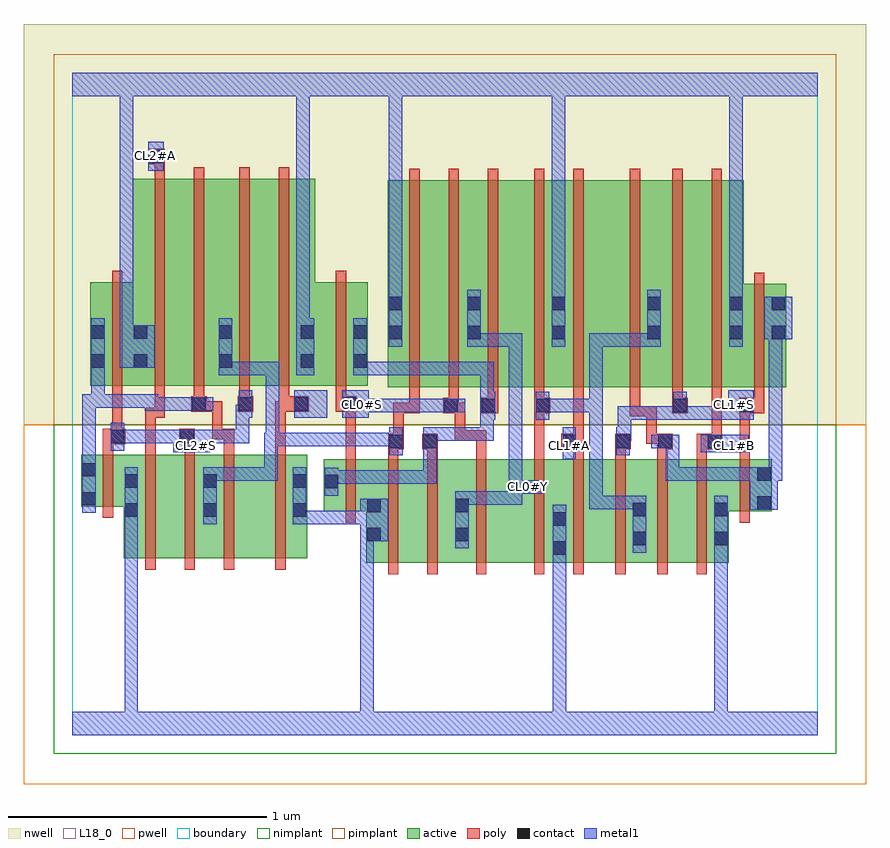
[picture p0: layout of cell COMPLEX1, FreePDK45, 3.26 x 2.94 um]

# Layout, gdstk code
import gdstk
lib = gdstk.Library(unit=1e-6, precision=1e-09)
def R(c, l, rs):  # rectangles x0, y0, x1, y1
    for r in rs: c.add(gdstk.rectangle(r[:2], r[2:], *l))
def A(c, l, x, y, w, h, nx, ny, dx, dy):  # array of equal rectangles
    R(c, l, [(x+i*dx, y+j*dy, x+i*dx+w, y+j*dy+h) for i in range(nx) for j in range(ny)])
active = (1, 0)
pwell = (2, 0)
nwell = (3, 0)
nimplant = (4, 0)
pimplant = (5, 0)
poly = (9, 0)
contact = (10, 0)
metal1 = (11, 0)
L18_0 = (18, 0)
boundary = (235, 0)

complex1 = lib.new_cell('COMPLEX1')
R(complex1, active, [(1.136,0.666,1.316,1.066), (1.316,0.666,1.536,1.066), (1.476,0.666,1.686,1.066), (1.476,0.666,1.536,0.918), (1.686,0.666,1.912,1.066), (1.852,0.666,1.912,0.866), (1.852,0.666,2.042,1.066), (2.042,0.666,2.222,1.066), (2.162,0.666,2.356,1.066), (2.162,0.666,2.222,0.902), (2.356,0.666,2.536,1.066), (0.198,0.684,0.378,1.084), (0.198,0.684,0.258,1.084), (0.378,0.684,0.562,1.084), (0.502,0.684,0.728,1.084), (0.728,0.684,0.908,1.084), (2.476,0.73,2.536,0.93), (1.136,0.746,1.196,1.066), (0.502,0.756,0.562,1.084), (0.848,0.756,0.908,1.084), (0.972,0.866,1.032,1.066), (0.972,0.866,1.196,1.066), (2.476,0.866,2.702,1.066), (2.642,0.868,2.702,1.066), (0.034,0.884,0.094,1.084), (0.034,0.884,0.258,1.084), (1.218,1.344,1.398,2.144), (1.218,1.344,1.278,2.044), (1.398,1.344,1.582,2.144), (1.522,1.344,1.702,2.144), (1.702,1.344,1.908,2.144), (1.848,1.344,2.098,2.144), (2.098,1.344,2.278,2.144), (2.218,1.344,2.414,2.144), (2.414,1.344,2.594,2.144), (2.534,1.344,2.758,1.744), (2.698,1.344,2.758,1.744), (0.07,1.35,0.294,1.75), (0.07,1.35,0.13,1.644), (0.234,1.35,0.414,2.15), (0.234,1.35,0.294,1.644), (0.414,1.35,0.622,2.15), (0.562,1.35,0.742,2.15), (0.562,1.35,0.622,2.044), (0.742,1.35,0.938,2.15), (0.878,1.35,0.938,1.644), (0.878,1.35,1.142,1.75), (1.082,1.35,1.142,1.644), (2.218,1.412,2.278,2.044), (1.848,1.414,1.908,2.044), (2.534,1.416,2.594,2.144), (1.522,1.526,1.582,2.044)])
R(complex1, pwell, [(-0.188,-0.188,3.068,1.2)])
R(complex1, nwell, [(-0.188,1.2,3.068,2.748)])
R(complex1, nimplant, [(-0.072,-0.072,2.952,1.2)])
R(complex1, pimplant, [(-0.072,1.2,2.952,2.632)])
A(complex1, poly, 1.936, 0.622, 0.04, 0.488, 3, 1, 0.162, 0)
A(complex1, poly, 0.282, 0.64, 0.04, 0.488, 3, 1, 0.152, 0)
A(complex1, poly, 1.936, 1.07, 0.04, 0.076, 3, 1, 0.162, 0)
A(complex1, poly, 0.54, 1.25, 0.04, 0.04, 3, 1, 0.258, 0)
A(complex1, poly, 1.302, 1.3, 0.04, 0.888, 3, 1, 0.152, 0)
R(complex1, poly, [(1.22,0.622,1.26,1.11), (1.372,0.622,1.412,1.11), (1.56,0.622,1.6,1.11), (1.784,0.622,1.824,1.11), (2.412,0.622,2.452,1.11), (0.784,0.64,0.824,1.128), (1.056,0.822,1.096,1.11), (2.578,0.822,2.618,1.11), (0.118,0.84,0.158,1.128), (1.056,1.07,1.096,1.29), (1.22,1.07,1.26,1.146), (1.372,1.07,1.412,1.146), (1.56,1.07,1.6,1.178), (1.784,1.07,1.824,1.284), (2.412,1.07,2.452,1.146), (2.578,1.07,2.618,1.284), (0.118,1.088,0.158,1.164), (0.282,1.088,0.322,1.266), (0.434,1.088,0.474,1.164), (0.586,1.088,0.626,1.184), (0.784,1.088,0.824,1.29), (1.22,1.106,1.28,1.166), (1.352,1.106,1.412,1.166), (1.89,1.106,1.976,1.166), (2.098,1.106,2.158,1.166), (2.26,1.106,2.32,1.166), (2.412,1.106,2.512,1.166), (0.118,1.124,0.204,1.184), (0.414,1.124,0.474,1.184), (1.24,1.126,1.28,1.284), (1.936,1.126,1.976,1.166), (1.936,1.126,1.976,1.166), (1.936,1.126,1.976,1.34), (2.218,1.126,2.258,1.166), (2.218,1.126,2.3,1.166), (2.218,1.126,2.258,1.272), (2.47,1.126,2.51,1.166), (2.47,1.126,2.51,1.166), (2.47,1.126,2.51,1.34), (1.478,1.138,1.518,1.178), (1.478,1.138,1.518,1.284), (1.478,1.138,1.6,1.178), (1.56,1.138,1.6,1.178), (0.154,1.144,0.194,1.184), (0.154,1.144,0.194,1.184), (0.154,1.144,0.194,1.346), (0.54,1.144,0.58,1.184), (0.54,1.144,0.58,1.29), (0.54,1.144,0.626,1.184), (0.586,1.144,0.626,1.184), (0.282,1.226,0.348,1.266), (0.308,1.226,0.348,1.266), (0.308,1.226,0.358,1.266), (0.318,1.226,0.358,1.346), (2.154,1.232,2.194,1.272), (2.154,1.232,2.258,1.272), (2.154,1.232,2.194,1.34), (2.218,1.232,2.258,1.272), (1.24,1.244,1.342,1.284), (1.302,1.244,1.342,1.34), (1.434,1.244,1.494,1.304), (1.454,1.244,1.518,1.284), (1.478,1.244,1.518,1.284), (1.578,1.244,1.646,1.304), (1.784,1.244,1.824,1.284), (1.784,1.244,1.824,1.284), (1.784,1.244,1.846,1.304), (2.318,1.244,2.378,1.304), (2.576,1.244,2.674,1.304), (2.578,1.244,2.618,1.284), (2.578,1.244,2.618,1.284), (0.46,1.25,0.52,1.31), (0.48,1.25,0.58,1.29), (0.64,1.25,0.7,1.31), (0.784,1.25,0.838,1.29), (0.798,1.25,0.914,1.31), (1.018,1.25,1.1,1.31), (1.056,1.25,1.096,1.29), (1.454,1.264,1.494,1.34), (1.606,1.264,1.646,1.34), (1.784,1.264,1.824,1.34), (2.318,1.264,2.358,1.34), (2.634,1.264,2.674,1.34), (0.47,1.27,0.51,1.346), (0.646,1.27,0.686,1.346), (0.798,1.27,0.838,1.346), (1.018,1.27,1.058,1.346), (1.784,1.3,1.824,2.188), (1.936,1.3,1.976,2.188), (2.154,1.3,2.194,2.188), (2.318,1.3,2.358,2.188), (2.47,1.3,2.51,2.188), (2.634,1.3,2.674,1.788), (0.154,1.306,0.194,1.794), (0.318,1.306,0.358,2.194), (0.47,1.306,0.51,2.194), (0.646,1.306,0.686,2.194), (0.798,1.306,0.838,2.194), (1.018,1.306,1.058,1.794), (0.318,2.154,0.358,2.246), (0.298,2.206,0.358,2.266)])
R(complex1, contact, [(1.856,0.698,1.908,0.75), (2.166,0.734,2.218,0.786), (2.48,0.734,2.532,0.786), (1.14,0.75,1.192,0.802), (1.48,0.75,1.532,0.802), (1.856,0.81,1.908,0.862), (0.202,0.844,0.254,0.896), (0.506,0.844,0.558,0.896), (0.852,0.844,0.904,0.896), (2.166,0.846,2.218,0.898), (2.48,0.846,2.532,0.898), (1.14,0.862,1.192,0.914), (1.48,0.862,1.532,0.914), (2.646,0.872,2.698,0.924), (0.038,0.888,0.09,0.94), (0.976,0.954,1.028,1.006), (0.202,0.956,0.254,1.008), (0.506,0.956,0.558,1.008), (0.852,0.956,0.904,1.008), (2.646,0.984,2.698,1.036), (0.038,1,0.09,1.052), (1.224,1.11,1.276,1.162), (1.356,1.11,1.408,1.162), (1.894,1.11,1.946,1.162), (2.102,1.11,2.154,1.162), (2.264,1.11,2.316,1.162), (2.456,1.11,2.508,1.162), (0.148,1.128,0.2,1.18), (0.418,1.128,0.47,1.18), (1.438,1.248,1.49,1.3), (1.582,1.248,1.634,1.3), (1.79,1.248,1.842,1.3), (2.322,1.248,2.374,1.3), (2.58,1.248,2.632,1.3), (0.464,1.254,0.516,1.306), (0.644,1.254,0.696,1.306), (0.858,1.254,0.91,1.306), (1.044,1.254,1.096,1.306), (0.074,1.42,0.126,1.472), (0.238,1.42,0.29,1.472), (0.566,1.42,0.618,1.472), (0.882,1.42,0.934,1.472), (1.086,1.42,1.138,1.472), (1.222,1.53,1.274,1.582), (1.526,1.53,1.578,1.582), (1.852,1.53,1.904,1.582), (2.222,1.53,2.274,1.582), (2.538,1.53,2.59,1.582), (2.702,1.53,2.754,1.582), (0.074,1.532,0.126,1.584), (0.238,1.532,0.29,1.584), (0.566,1.532,0.618,1.584), (0.882,1.532,0.934,1.584), (1.086,1.532,1.138,1.584), (1.222,1.642,1.274,1.694), (1.526,1.642,1.578,1.694), (1.852,1.642,1.904,1.694), (2.222,1.642,2.274,1.694), (2.538,1.642,2.59,1.694), (2.702,1.642,2.754,1.694), (0.302,2.21,0.354,2.262)])
R(complex1, metal1, [(0,0,2.88,0.092), (0.202,0.04,0.254,0.092), (0.202,0.04,0.254,0.092), (0.202,0.04,0.254,0.092), (0.202,0.04,0.254,0.092), (0.202,0.04,0.254,0.092), (0.202,0.04,0.254,0.092), (0.202,0.04,0.254,0.092), (0.202,0.04,0.254,0.092), (0.202,0.04,0.254,0.092), (0.202,0.04,0.254,0.092), (0.202,0.04,0.254,0.092), (0.202,0.04,0.254,0.092), (0.202,0.04,0.254,0.868), (1.112,0.04,1.164,0.092), (1.112,0.04,1.164,0.092), (1.112,0.04,1.164,0.092), (1.112,0.04,1.164,0.092), (1.112,0.04,1.164,0.092), (1.112,0.04,1.164,0.092), (1.112,0.04,1.164,0.092), (1.112,0.04,1.164,0.092), (1.112,0.04,1.164,0.092), (1.112,0.04,1.164,0.092), (1.112,0.04,1.164,0.092), (1.112,0.04,1.164,0.092), (1.112,0.04,1.164,0.802), (1.856,0.04,1.908,0.722), (2.48,0.04,2.532,0.092), (2.48,0.04,2.532,0.092), (2.48,0.04,2.532,0.092), (2.48,0.04,2.532,0.092), (2.48,0.04,2.532,0.092), (2.48,0.04,2.532,0.092), (2.48,0.04,2.532,0.092), (2.48,0.04,2.532,0.092), (2.48,0.04,2.532,0.092), (2.48,0.04,2.532,0.092), (2.48,0.04,2.532,0.092), (2.48,0.04,2.532,0.092), (2.48,0.04,2.532,0.758), (1.856,0.67,1.908,0.722), (1.856,0.67,1.908,0.722), (1.856,0.67,1.908,0.722), (1.856,0.67,1.908,0.722), (1.856,0.67,1.908,0.722), (1.856,0.67,1.908,0.722), (1.856,0.67,1.908,0.722), (1.856,0.67,1.908,0.722), (1.856,0.67,1.908,0.722), (1.856,0.67,1.908,0.722), (1.856,0.67,1.908,0.722), (1.856,0.67,1.908,0.722), (1.856,0.67,1.908,0.89), (2.166,0.706,2.218,0.926), (2.48,0.706,2.532,0.926), (1.48,0.722,1.532,0.942), (1.112,0.75,1.22,0.914), (0.202,0.816,0.254,1.036), (0.506,0.816,0.558,1.036), (0.852,0.816,0.904,1.036), (0.852,0.816,1.028,0.868), (0.976,0.816,1.028,0.868), (0.976,0.816,1.028,0.868), (0.976,0.816,1.028,0.868), (0.976,0.816,1.164,0.868), (0.038,0.86,0.09,1.08), (2.618,0.872,2.726,1.036), (1.998,0.874,2.05,0.926), (1.998,0.874,2.062,0.926), (1.998,0.874,2.05,1.3), (2.01,0.874,2.062,0.926), (2.01,0.874,2.218,0.926), (1.48,0.89,1.628,0.942), (1.576,0.89,1.628,0.942), (1.576,0.89,1.738,0.942), (1.686,0.89,1.738,0.942), (1.686,0.89,1.738,0.986), (0.976,0.926,1.028,1.034), (1.686,0.934,1.738,1.554), (1.686,0.934,1.814,0.986), (0.976,0.972,1.138,1.024), (1.086,0.972,1.138,1.024), (1.086,0.972,1.138,1.024), (1.086,0.972,1.138,1.024), (1.086,0.972,1.256,1.024), (1.204,0.972,1.256,1.024), (1.204,0.972,1.256,1.024), (1.204,0.972,1.256,1.024), (1.204,0.972,1.408,1.024), (1.356,0.972,1.408,1.024), (1.356,0.972,1.408,1.134), (0.506,0.984,0.794,1.036), (0.742,0.984,0.794,1.036), (0.742,0.984,0.794,1.036), (0.742,0.984,0.794,1.036), (0.742,0.984,0.794,1.168), (2.292,0.984,2.344,1.036), (2.292,0.984,2.48,1.036), (2.292,0.984,2.344,1.162), (2.428,0.984,2.48,1.036), (2.428,0.984,2.56,1.036), (2.508,0.984,2.56,1.036), (2.508,0.984,2.67,1.036), (2.618,0.984,2.67,1.036), (2.618,0.984,2.67,1.036), (2.674,0.984,2.726,1.036), (2.674,0.984,2.742,1.036), (2.69,0.984,2.742,1.582), (2.69,0.984,2.742,1.036), (2.69,0.984,2.742,1.036), (0.038,1.028,0.09,1.08), (0.038,1.028,0.09,1.08), (0.038,1.028,0.09,1.318), (1.894,1.066,1.946,1.19), (1.224,1.082,1.276,1.19), (1.356,1.082,1.408,1.134), (1.356,1.082,1.408,1.134), (1.356,1.082,1.408,1.19), (2.102,1.082,2.154,1.19), (0.39,1.094,0.534,1.18), (2.428,1.094,2.614,1.162), (0.148,1.1,0.2,1.208), (2.236,1.11,2.344,1.162), (2.292,1.11,2.344,1.162), (2.292,1.11,2.344,1.162), (0.742,1.116,0.8,1.168), (0.748,1.116,0.8,1.168), (0.748,1.116,0.8,1.168), (0.748,1.116,0.91,1.168), (0.748,1.116,0.8,1.444), (0.858,1.116,0.91,1.168), (0.858,1.116,0.91,1.168), (0.858,1.116,0.91,1.168), (0.858,1.116,1.026,1.168), (0.974,1.116,1.026,1.168), (0.974,1.116,1.138,1.168), (1.086,1.116,1.138,1.168), (1.086,1.116,1.138,1.168), (1.086,1.116,1.138,1.168), (1.086,1.116,1.276,1.168), (1.224,1.116,1.276,1.168), (1.224,1.116,1.276,1.168), (0.148,1.128,0.31,1.18), (0.258,1.128,0.31,1.18), (0.258,1.128,0.31,1.18), (0.258,1.128,0.31,1.18), (0.258,1.128,0.442,1.18), (0.39,1.128,0.442,1.18), (0.39,1.128,0.442,1.18), (0.482,1.128,0.684,1.18), (0.632,1.128,0.684,1.18), (0.632,1.128,0.684,1.278), (1.356,1.138,1.628,1.19), (1.576,1.138,1.628,1.19), (1.576,1.138,1.628,1.328), (2.102,1.138,2.16,1.19), (2.108,1.138,2.16,1.19), (2.108,1.138,2.16,1.272), (1.582,1.22,1.634,1.328), (1.79,1.22,1.842,1.328), (2.108,1.22,2.16,1.272), (2.108,1.22,2.374,1.272), (2.322,1.22,2.374,1.272), (2.322,1.22,2.374,1.272), (2.322,1.22,2.48,1.272), (2.322,1.22,2.374,1.328), (2.428,1.22,2.48,1.272), (2.428,1.22,2.56,1.272), (2.508,1.22,2.56,1.272), (2.508,1.22,2.586,1.272), (2.534,1.22,2.632,1.334), (0.632,1.226,0.684,1.278), (0.632,1.226,0.696,1.278), (0.644,1.226,0.696,1.334), (0.858,1.226,0.986,1.334), (1.044,1.226,1.146,1.334), (1.094,1.248,1.146,1.3), (1.094,1.248,1.146,1.3), (1.094,1.248,1.256,1.3), (1.204,1.248,1.256,1.3), (1.204,1.248,1.256,1.3), (1.204,1.248,1.256,1.3), (1.204,1.248,1.422,1.3), (1.37,1.248,1.422,1.3), (1.37,1.248,1.462,1.3), (1.41,1.248,1.518,1.3), (1.79,1.248,1.94,1.3), (1.888,1.248,1.94,1.3), (1.888,1.248,1.952,1.3), (1.9,1.248,1.952,1.3), (1.9,1.248,2.05,1.3), (1.998,1.248,2.05,1.3), (1.998,1.248,2.05,1.3), (1.998,1.248,2.05,1.3), (1.998,1.248,2.05,1.554), (0.28,1.254,0.448,1.306), (0.28,1.254,0.332,1.318), (0.396,1.254,0.448,1.306), (0.396,1.254,0.488,1.306), (0.436,1.254,0.544,1.306), (0.038,1.266,0.126,1.318), (0.074,1.266,0.126,1.318), (0.074,1.266,0.126,1.318), (0.074,1.266,0.126,1.444), (0.074,1.266,0.332,1.318), (0.28,1.266,0.332,1.318), (0.28,1.266,0.332,1.318), (1.576,1.276,1.628,1.328), (1.576,1.276,1.634,1.328), (1.576,1.276,1.628,1.444), (0.074,1.392,0.126,1.612), (0.566,1.392,0.618,1.612), (0.566,1.392,0.794,1.444), (0.742,1.392,0.794,1.444), (0.742,1.392,0.8,1.444), (0.748,1.392,0.8,1.444), (0.866,1.392,0.934,1.612), (1.086,1.392,1.138,1.612), (1.086,1.392,1.256,1.444), (1.204,1.392,1.256,1.444), (1.204,1.392,1.256,1.444), (1.204,1.392,1.256,1.444), (1.204,1.392,1.386,1.444), (1.334,1.392,1.386,1.444), (1.334,1.392,1.386,1.444), (1.334,1.392,1.386,1.444), (1.334,1.392,1.628,1.444), (1.576,1.392,1.628,1.444), (0.184,1.42,0.318,1.584), (1.222,1.502,1.274,1.722), (1.526,1.502,1.578,1.722), (1.526,1.502,1.628,1.554), (1.576,1.502,1.628,1.554), (1.576,1.502,1.738,1.554), (1.686,1.502,1.738,1.554), (1.686,1.502,1.738,1.554), (1.686,1.502,1.738,1.554), (1.686,1.502,1.738,1.554), (1.686,1.502,1.738,1.554), (1.852,1.502,1.904,1.722), (1.998,1.502,2.05,1.554), (1.998,1.502,2.178,1.554), (2.126,1.502,2.178,1.554), (2.126,1.502,2.274,1.554), (2.222,1.502,2.274,1.722), (2.538,1.502,2.59,1.722), (2.674,1.53,2.782,1.694), (0.184,1.532,0.236,1.584), (0.184,1.532,0.236,1.584), (0.184,1.532,0.236,2.52), (0.866,1.56,0.918,1.612), (0.866,1.56,0.918,1.612), (0.866,1.56,0.918,1.612), (0.866,1.56,0.918,1.612), (0.866,1.56,0.918,1.612), (0.866,1.56,0.918,1.612), (0.866,1.56,0.918,1.612), (0.866,1.56,0.918,1.612), (0.866,1.56,0.918,2.52), (1.222,1.67,1.274,1.722), (1.222,1.67,1.274,1.722), (1.222,1.67,1.274,1.722), (1.222,1.67,1.274,1.722), (1.222,1.67,1.274,2.52), (1.852,1.67,1.904,1.722), (1.852,1.67,1.904,1.722), (1.852,1.67,1.904,2.52), (2.538,1.67,2.59,1.722), (2.538,1.67,2.59,1.722), (2.538,1.67,2.59,2.52), (0.294,2.182,0.354,2.294), (0,2.468,2.88,2.56), (0.184,2.468,0.236,2.52), (0.184,2.468,0.236,2.52), (0.184,2.468,0.236,2.52), (0.184,2.468,0.236,2.52), (0.184,2.468,0.236,2.52), (0.184,2.468,0.236,2.52), (1.222,2.468,1.274,2.52), (1.222,2.468,1.274,2.52), (1.222,2.468,1.274,2.52), (1.222,2.468,1.274,2.52), (1.852,2.468,1.904,2.52), (1.852,2.468,1.904,2.52), (1.852,2.468,1.904,2.52), (1.852,2.468,1.904,2.52), (1.852,2.468,1.904,2.52), (1.852,2.468,1.904,2.52), (2.538,2.468,2.59,2.52), (2.538,2.468,2.59,2.52), (2.538,2.468,2.59,2.52), (2.538,2.468,2.59,2.52), (2.538,2.468,2.59,2.52), (2.538,2.468,2.59,2.52)])
R(complex1, L18_0, [(0,0,2.88,0.092), (0.202,0.04,0.254,0.092), (0.202,0.04,0.254,0.092), (0.202,0.04,0.254,0.092), (0.202,0.04,0.254,0.092), (0.202,0.04,0.254,0.092), (0.202,0.04,0.254,0.092), (0.202,0.04,0.254,0.092), (0.202,0.04,0.254,0.092), (0.202,0.04,0.254,0.092), (0.202,0.04,0.254,0.092), (0.202,0.04,0.254,0.092), (0.202,0.04,0.254,0.092), (0.202,0.04,0.254,0.868), (1.112,0.04,1.164,0.092), (1.112,0.04,1.164,0.092), (1.112,0.04,1.164,0.092), (1.112,0.04,1.164,0.092), (1.112,0.04,1.164,0.092), (1.112,0.04,1.164,0.092), (1.112,0.04,1.164,0.092), (1.112,0.04,1.164,0.092), (1.112,0.04,1.164,0.092), (1.112,0.04,1.164,0.092), (1.112,0.04,1.164,0.092), (1.112,0.04,1.164,0.092), (1.112,0.04,1.164,0.802), (1.856,0.04,1.908,0.722), (2.48,0.04,2.532,0.092), (2.48,0.04,2.532,0.092), (2.48,0.04,2.532,0.092), (2.48,0.04,2.532,0.092), (2.48,0.04,2.532,0.092), (2.48,0.04,2.532,0.092), (2.48,0.04,2.532,0.092), (2.48,0.04,2.532,0.092), (2.48,0.04,2.532,0.092), (2.48,0.04,2.532,0.092), (2.48,0.04,2.532,0.092), (2.48,0.04,2.532,0.092), (2.48,0.04,2.532,0.758), (1.856,0.67,1.908,0.722), (1.856,0.67,1.908,0.722), (1.856,0.67,1.908,0.722), (1.856,0.67,1.908,0.722), (1.856,0.67,1.908,0.722), (1.856,0.67,1.908,0.722), (1.856,0.67,1.908,0.722), (1.856,0.67,1.908,0.722), (1.856,0.67,1.908,0.722), (1.856,0.67,1.908,0.722), (1.856,0.67,1.908,0.722), (1.856,0.67,1.908,0.722), (1.856,0.67,1.908,0.89), (2.48,0.706,2.532,0.926), (1.48,0.722,1.532,0.942), (1.112,0.75,1.22,0.914), (0.202,0.816,0.254,1.036), (0.852,0.816,0.904,1.036), (0.852,0.816,1.028,0.868), (0.976,0.816,1.028,0.868), (0.976,0.816,1.028,0.868), (0.976,0.816,1.028,0.868), (0.976,0.816,1.164,0.868), (1.48,0.89,1.628,0.942), (1.576,0.89,1.628,0.942), (1.576,0.89,1.738,0.942), (1.686,0.89,1.738,0.942), (1.686,0.89,1.738,0.986), (1.686,0.934,1.814,0.986), (1.686,0.934,1.738,1.554), (1.734,0.934,1.786,0.986), (1.894,1.066,1.946,1.19), (2.102,1.082,2.154,1.19), (0.39,1.094,0.534,1.18), (0.454,1.094,0.506,1.146), (1.894,1.094,1.946,1.146), (2.428,1.094,2.614,1.162), (2.534,1.094,2.586,1.146), (0.148,1.1,0.2,1.208), (0.148,1.128,0.31,1.18), (0.258,1.128,0.31,1.18), (0.258,1.128,0.31,1.18), (0.258,1.128,0.31,1.18), (0.258,1.128,0.442,1.18), (0.39,1.128,0.442,1.18), (0.39,1.128,0.442,1.18), (0.482,1.128,0.684,1.18), (0.632,1.128,0.684,1.18), (0.632,1.128,0.684,1.278), (2.102,1.138,2.16,1.19), (2.108,1.138,2.16,1.19), (2.108,1.138,2.16,1.272), (2.108,1.22,2.16,1.272), (2.108,1.22,2.374,1.272), (2.322,1.22,2.374,1.328), (2.322,1.22,2.374,1.272), (2.322,1.22,2.374,1.272), (2.322,1.22,2.48,1.272), (2.428,1.22,2.48,1.272), (2.428,1.22,2.56,1.272), (2.508,1.22,2.56,1.272), (2.508,1.22,2.586,1.272), (2.534,1.22,2.632,1.334), (0.632,1.226,0.684,1.278), (0.632,1.226,0.696,1.278), (0.644,1.226,0.696,1.334), (0.858,1.226,0.986,1.334), (1.044,1.226,1.146,1.334), (1.094,1.248,1.146,1.3), (1.094,1.248,1.146,1.3), (1.094,1.248,1.256,1.3), (1.204,1.248,1.256,1.3), (1.204,1.248,1.256,1.3), (1.204,1.248,1.256,1.3), (1.204,1.248,1.422,1.3), (1.37,1.248,1.422,1.3), (1.37,1.248,1.462,1.3), (1.41,1.248,1.518,1.3), (0.934,1.254,0.986,1.306), (1.094,1.254,1.146,1.306), (2.534,1.254,2.586,1.306), (0.866,1.392,0.934,1.612), (0.184,1.42,0.318,1.584), (1.222,1.502,1.274,1.722), (1.526,1.502,1.578,1.722), (1.526,1.502,1.628,1.554), (1.576,1.502,1.628,1.554), (1.576,1.502,1.738,1.554), (1.686,1.502,1.738,1.554), (1.686,1.502,1.738,1.554), (1.686,1.502,1.738,1.554), (1.686,1.502,1.738,1.554), (1.686,1.502,1.738,1.554), (1.852,1.502,1.904,1.722), (2.538,1.502,2.59,1.722), (0.184,1.532,0.236,1.584), (0.184,1.532,0.236,1.584), (0.184,1.532,0.236,2.52), (0.866,1.56,0.918,1.612), (0.866,1.56,0.918,1.612), (0.866,1.56,0.918,1.612), (0.866,1.56,0.918,1.612), (0.866,1.56,0.918,1.612), (0.866,1.56,0.918,1.612), (0.866,1.56,0.918,1.612), (0.866,1.56,0.918,1.612), (0.866,1.56,0.918,2.52), (1.222,1.67,1.274,1.722), (1.222,1.67,1.274,1.722), (1.222,1.67,1.274,1.722), (1.222,1.67,1.274,1.722), (1.222,1.67,1.274,2.52), (1.852,1.67,1.904,1.722), (1.852,1.67,1.904,1.722), (1.852,1.67,1.904,2.52), (2.538,1.67,2.59,1.722), (2.538,1.67,2.59,1.722), (2.538,1.67,2.59,2.52), (0.294,2.182,0.354,2.294), (0.294,2.214,0.346,2.266), (0,2.468,2.88,2.56), (0.184,2.468,0.236,2.52), (0.184,2.468,0.236,2.52), (0.184,2.468,0.236,2.52), (0.184,2.468,0.236,2.52), (0.184,2.468,0.236,2.52), (0.184,2.468,0.236,2.52), (1.222,2.468,1.274,2.52), (1.222,2.468,1.274,2.52), (1.222,2.468,1.274,2.52), (1.222,2.468,1.274,2.52), (1.852,2.468,1.904,2.52), (1.852,2.468,1.904,2.52), (1.852,2.468,1.904,2.52), (1.852,2.468,1.904,2.52), (1.852,2.468,1.904,2.52), (1.852,2.468,1.904,2.52), (2.538,2.468,2.59,2.52), (2.538,2.468,2.59,2.52), (2.538,2.468,2.59,2.52), (2.538,2.468,2.59,2.52), (2.538,2.468,2.59,2.52), (2.538,2.468,2.59,2.52)])
R(complex1, boundary, [(0,0,2.88,2.56)])
complex1.add(gdstk.Label('CL0#S', (1.12,1.28), layer=11, texttype=0))
complex1.add(gdstk.Label('CL0#Y', (1.76,0.96), layer=11, texttype=0))
complex1.add(gdstk.Label('CL1#A', (1.92,1.12), layer=11, texttype=0))
complex1.add(gdstk.Label('CL1#B', (2.56,1.12), layer=11, texttype=0))
complex1.add(gdstk.Label('CL1#S', (2.56,1.28), layer=11, texttype=0))
complex1.add(gdstk.Label('CL2#A', (0.32,2.24), layer=11, texttype=0))
complex1.add(gdstk.Label('CL2#B', (0.96,1.28), layer=11, texttype=0))
complex1.add(gdstk.Label('CL2#S', (0.48,1.12), layer=11, texttype=0))

lib.write_gds('COMPLEX1.gds')
